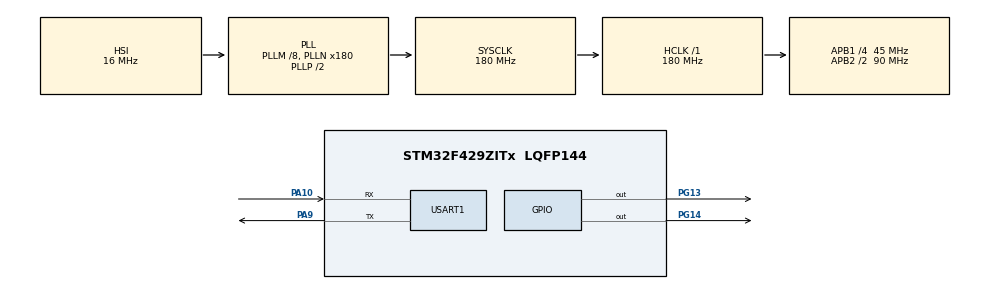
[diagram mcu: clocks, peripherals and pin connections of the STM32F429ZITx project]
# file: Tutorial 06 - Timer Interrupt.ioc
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Mcu.Family=STM32F4
Mcu.Name=STM32F429ZITx
Mcu.Package=LQFP144
NVIC.PriorityGroup=NVIC_PRIORITYGROUP_4
NVIC.TIM8_TRG_COM_TIM14_IRQn=true\:0\:0\:false\:false\:true\:true\:true
NVIC.USART1_IRQn=true\:0\:0\:false\:false\:true\:true\:true
PA10.Mode=Asynchronous
PA10.Signal=USART1_RX
PA9.Mode=Asynchronous
PA9.Signal=USART1_TX
PG13.Signal=GPIO_Output
PG14.Signal=GPIO_Output
PH0/OSC_IN.Mode=HSE-External-Oscillator
PH0/OSC_IN.Signal=RCC_OSC_IN
PH1/OSC_OUT.Mode=HSE-External-Oscillator
PH1/OSC_OUT.Signal=RCC_OSC_OUT
ProjectManager.HeapSize=0x200
ProjectManager.StackSize=0x400
ProjectManager.TargetToolchain=STM32CubeIDE
RCC.48MHZClocksFreq_Value=90000000
RCC.AHBFreq_Value=180000000
RCC.APB1CLKDivider=RCC_HCLK_DIV4
RCC.APB1Freq_Value=45000000
RCC.APB1TimFreq_Value=90000000
RCC.APB2CLKDivider=RCC_HCLK_DIV2
RCC.APB2Freq_Value=90000000
RCC.APB2TimFreq_Value=180000000
RCC.CortexFreq_Value=180000000
RCC.HCLKFreq_Value=180000000
RCC.HSE_VALUE=8000000
RCC.HSI_VALUE=16000000
RCC.LSE_VALUE=32768
RCC.PLLM=8
RCC.PLLN=180
RCC.SYSCLKFreq_VALUE=180000000
RCC.SYSCLKSource=RCC_SYSCLKSOURCE_PLLCLK
RCC.VCOOutputFreq_Value=360000000
TIM14.AutoReloadPreload=TIM_AUTORELOAD_PRELOAD_ENABLE
TIM14.Channel=TIM_CHANNEL_1
TIM14.Period=10000-1
TIM14.Prescaler=9000-1
USART1.VirtualMode=VM_ASYNC
VP_TIM14_VS_ClockSourceINT.Mode=Enable_Timer
VP_TIM14_VS_no_output1.Mode=Output Compare1 No Output
board=custom

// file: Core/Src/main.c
/* USER CODE BEGIN Header */
/**
  ******************************************************************************
  * @file           : main.c
  * @brief          : Main program body
  ******************************************************************************
  * @attention
  *
  * <h2><center>&copy; Copyright (c) 2021 STMicroelectronics.
  * All rights reserved.</center></h2>
  *
  * This software component is licensed by ST under BSD 3-Clause license,
  * the "License"; You may not use this file except in compliance with the
  * License. You may obtain a copy of the License at:
  *                        opensource.org/licenses/BSD-3-Clause
  *
  ******************************************************************************
  */
/* USER CODE END Header */
#include "main.h"
#include "tim.h"
#include "usart.h"
#include "gpio.h"

/* USER CODE BEGIN Includes */
#include "utility.h"
/* USER CODE END Includes */

/* USER CODE BEGIN PV */
uint8_t rxData;
/* USER CODE END PV */

void SystemClock_Config(void);
/* USER CODE BEGIN PFP */

int _write(int file, char *ptr, int len)
{
  HAL_UART_Transmit(&huart1, (uint8_t *)ptr, len, 10);
  return len;
}

/* USER CODE END PFP */

int main(void)
{

  /* MCU Configuration--------------------------------------------------------*/

  /* Reset of all peripherals, Initializes the Flash interface and the Systick. */
  HAL_Init();

  /* Configure the system clock */
  SystemClock_Config();

  /* Initialize all configured peripherals */
  MX_GPIO_Init();
  MX_USART1_UART_Init();
  MX_TIM14_Init();
  /* USER CODE BEGIN 2 */

  HAL_UART_Receive_IT(&huart1, &rxData, 1); // uart interrupt receive start

  HAL_TIM_Base_Start_IT(&htim14);

  /* USER CODE END 2 */

  /* Infinite loop */
  /* USER CODE BEGIN WHILE */
  uint8_t count;
  while (1)
  {
    printf("Count : %d\n\r", count++);
    HAL_Delay(500);
    /* USER CODE END WHILE */

  }
}

void SystemClock_Config(void)
{
  RCC_OscInitTypeDef RCC_OscInitStruct = {0};
  RCC_ClkInitTypeDef RCC_ClkInitStruct = {0};

  /** Configure the main internal regulator output voltage
  */
  __HAL_RCC_PWR_CLK_ENABLE();
  __HAL_PWR_VOLTAGESCALING_CONFIG(PWR_REGULATOR_VOLTAGE_SCALE1);
  /** Initializes the RCC Oscillators according to the specified parameters
  * in the RCC_OscInitTypeDef structure.
  */
  RCC_OscInitStruct.OscillatorType = RCC_OSCILLATORTYPE_HSI;
  RCC_OscInitStruct.HSIState = RCC_HSI_ON;
  RCC_OscInitStruct.HSICalibrationValue = RCC_HSICALIBRATION_DEFAULT;
  RCC_OscInitStruct.PLL.PLLState = RCC_PLL_ON;
  RCC_OscInitStruct.PLL.PLLSource = RCC_PLLSOURCE_HSI;
  RCC_OscInitStruct.PLL.PLLM = 8;
  RCC_OscInitStruct.PLL.PLLN = 180;
  RCC_OscInitStruct.PLL.PLLP = RCC_PLLP_DIV2;
  RCC_OscInitStruct.PLL.PLLQ = 4;
  if (HAL_RCC_OscConfig(&RCC_OscInitStruct) != HAL_OK)
  {
    Error_Handler();
  }
  /** Activate the Over-Drive mode
  */
  if (HAL_PWREx_EnableOverDrive() != HAL_OK)
  {
    Error_Handler();
  }
  /** Initializes the CPU, AHB and APB buses clocks
  */
  RCC_ClkInitStruct.ClockType = RCC_CLOCKTYPE_HCLK|RCC_CLOCKTYPE_SYSCLK
                              |RCC_CLOCKTYPE_PCLK1|RCC_CLOCKTYPE_PCLK2;
  RCC_ClkInitStruct.SYSCLKSource = RCC_SYSCLKSOURCE_PLLCLK;
  RCC_ClkInitStruct.AHBCLKDivider = RCC_SYSCLK_DIV1;
  RCC_ClkInitStruct.APB1CLKDivider = RCC_HCLK_DIV4;
  RCC_ClkInitStruct.APB2CLKDivider = RCC_HCLK_DIV2;

  if (HAL_RCC_ClockConfig(&RCC_ClkInitStruct, FLASH_LATENCY_5) != HAL_OK)
  {
    Error_Handler();
  }
}

/* USER CODE BEGIN 4 */

void HAL_UART_RxCpltCallback(UART_HandleTypeDef *huart)
{
  if (huart->Instance == USART1)
  {
    HAL_UART_Receive_IT(&huart1, &rxData, 1);
    HAL_UART_Transmit(&huart1, &rxData, 1, 10);
  }
}

void HAL_TIM_PeriodElapsedCallback(TIM_HandleTypeDef *htim)
{
  if (htim->Instance == TIM14)
  {
    HAL_GPIO_TogglePin(GPIOG, GPIO_PIN_14);
  }
}

/* USER CODE END 4 */

void Error_Handler(void)
{
  __disable_irq();
  while (1)
  {
  }
}

/************************ (C) COPYRIGHT STMicroelectronics *****END OF FILE****/
